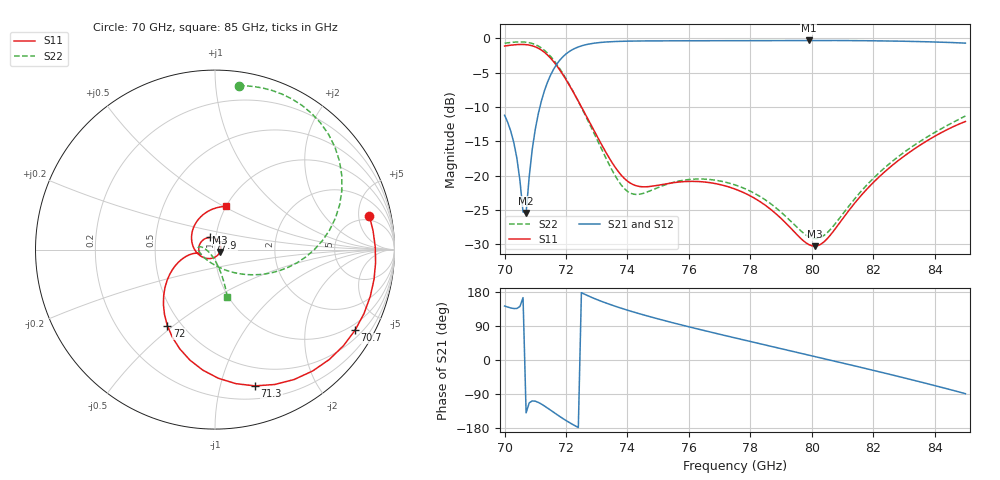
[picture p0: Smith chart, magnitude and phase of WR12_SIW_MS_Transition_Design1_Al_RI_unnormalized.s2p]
! Touchstone file exported from HFSS 2020.1.3
!  File:  /home/erdoel/scratch/P2S30/WR12_SIW_MS_Transition.aedt
!  Generated:  12:29:48 PM  Feb 07, 2021
!  Design:  Design1_Al
!  Project:  WR12_SIW_MS_Transition
!  Setup:  Setup1
!  Solution:  Sweep
! Variables:
!  T_L2 = 35um
!  fil = 0.3mm
!  hm = 0.4mm
!  hsub = 0.127mm
!  hwg = 1.55mm
!  l1 = 1.05mm
!  lcav = 1.92mm
!  lt = 0.7mm
!  offx = 0um
!  offy = 0um
!  rvia = 0.075mm
!  s1 = 1.33mm
!  shift = 20um
!  sl = 3.1mm
!  sy = 0.65mm
!  th = 35um
!  w1 = 1.2mm
!  w50 = 300um
!  wcav = 3.5mm
!  wm = 1.9mm
!  wslot = 1.5mm
!  wt = 0.6mm
!  wwg = 3.1mm
!Data is not renormalized
# GHZ S RI
! Terminal data exported
! Port[1] = MS
! Port[2] = WG
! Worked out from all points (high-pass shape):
!   151 points, 70 GHz to 85 GHz, reference per port
!   highest |S21| = -0.30 dB at 79.9 GHz (marker M1); lowest = -25.4 dB at 70.7 GHz (marker M2)
!   |S21| within 3 dB of the highest: 71.77 GHz to end of sweep
!   lowest |S11| = -30.3 dB at 80.1 GHz (marker M3), VSWR 1.06
!   |S11| at or under -10 dB: 72.5 GHz to end of sweep
!   |S22| runs from -29.2 to -0.5 dB; largest |S21 - S12| = 2.6e-14
!   S11 on the Smith chart (normalised r, x): 70 GHz: 4.15, +6.88; 70.7 GHz: 0.76, -3.60; 71.3 GHz: 0.32, -1.29; 72 GHz: 0.42, -0.48; 77.9 GHz: 0.94, +0.13; 85 GHz: 1.00, +0.51
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70  0.8605 0.1863  -0.2181 0.1678  -0.2181 0.1678  0.1331 0.9133
! Gamma 0.293091812840837 1043.92307249166 0 0 0 0 2.91060613706894 2282.20949762374
! Port Impedance538.285879911284 0.0908936897092764 0 0 0 0 53.9660088982981 -0.0125704297862929
70.3  0.8948 -0.0715  -0.1247 0.1214  -0.1247 0.1214  0.2687 0.8996
70.6  0.8301 -0.3564  -0.0524 0.0145  -0.0524 0.0145  0.4287 0.8393
70.7  0.7805 -0.449  -0.0406 -0.0348  -0.0406 -0.0348  0.484 0.8039
70.9  0.6364 -0.6125  -0.0479 -0.1479  -0.0479 -0.1479  0.5881 0.7055
71.3  0.2229 -0.7593  -0.2183 -0.3562  -0.2183 -0.3562  0.7066 0.4119
71.7  -0.1394 -0.6159  -0.5248 -0.3837  -0.5248 -0.3837  0.638 0.108
72  -0.2653 -0.4241  -0.7235 -0.2664  -0.7235 -0.2664  0.5061 -0.0408
72.5  -0.2669 -0.1713  -0.8812 0.0356  -0.8812 0.0356  0.2835 -0.135
73.1  -0.172 -0.0444  -0.8557 0.3732  -0.8557 0.3732  0.1058 -0.128
73.9  -0.0931 -0.0203  -0.6623 0.6867  -0.6623 0.6867  -0.0138 -0.0791
75  -0.0824 -0.0214  -0.3024 0.911  -0.3024 0.911  -0.0777 -0.026
76.2  -0.0889 0.0185  0.1077 0.9555  0.1077 0.9555  -0.0943 0.00529
77.5  -0.0476 0.0641  0.506 0.8198  0.506 0.8198  -0.0841 0.016
77.9  -0.0273 0.0678  0.6105 0.7461  0.6105 0.7461  -0.0775 0.0152
79.9  0.0314 -0.00208  0.9416 0.2169  0.9416 0.2169  -0.0319 -0.0164
80  0.0299 -0.0074  0.9482 0.1857  0.9482 0.1857  -0.0294 -0.0192
80.1  0.0279 -0.0126  0.9538 0.1543  0.9538 0.1543  -0.0269 -0.022
81.3  -0.0318 -0.05  0.9366 -0.2282  0.9366 -0.2282  0.00234 -0.0637
82.5  -0.1129 -0.00112  0.7642 -0.5773  0.7642 -0.5773  0.028 -0.1175
83.8  -0.1076 0.1471  0.4245 -0.8439  0.4245 -0.8439  0.0512 -0.1872
85  0.0617 0.2404  0.0194 -0.9238  0.0194 -0.9238  0.0689 -0.263
